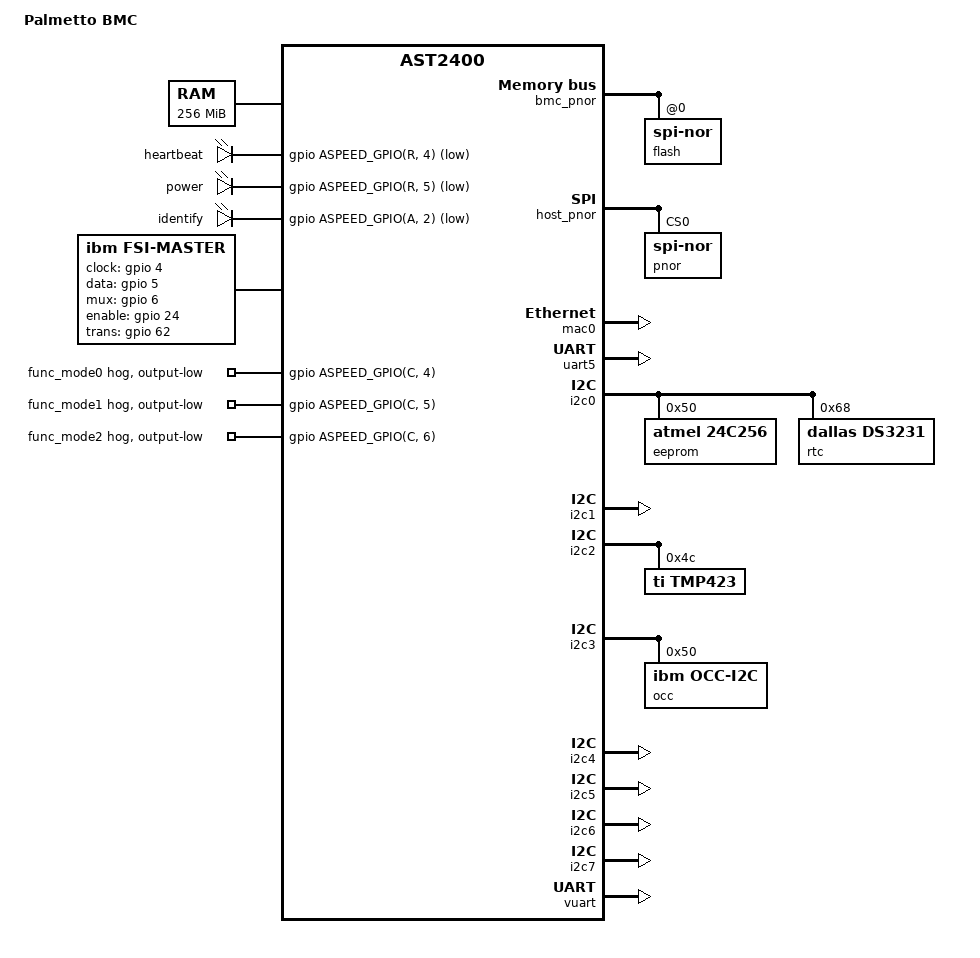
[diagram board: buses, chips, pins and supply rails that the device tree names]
/dts-v1/;

#include "aspeed-g4.dtsi"
#include <dt-bindings/gpio/aspeed-gpio.h>

/ {
	model = "Palmetto BMC";
	compatible = "tyan,palmetto-bmc", "aspeed,ast2400";

	aliases {
		serial4 = &uart5;
	};

	chosen {
		stdout-path = &uart5;
		bootargs = "console=ttyS4,115200 earlyprintk";
	};

	memory {
		reg = <0x40000000 0x10000000>;
	};

        leds {
                compatible = "gpio-leds";

                heartbeat {
                        gpios = <&gpio ASPEED_GPIO(R, 4) GPIO_ACTIVE_LOW>;
                };

                power {
                        gpios = <&gpio ASPEED_GPIO(R, 5) GPIO_ACTIVE_LOW>;
                };

                identify {
                        gpios = <&gpio ASPEED_GPIO(A, 2) GPIO_ACTIVE_LOW>;
                };
        };

	ahb {
		bmc_pnor: fmc@1e620000 {
			reg = < 0x1e620000 0x94
				0x20000000 0x02000000 >;
			#address-cells = <1>;
			#size-cells = <0>;
			compatible = "aspeed,ast2400-fmc";
			aspeed,fmc-has-dma;
			interrupts = <19>;
			flash@0 {
				reg = < 0 >;
				compatible = "jedec,spi-nor" ;
#include "aspeed-bmc-opp-flash-layout.dtsi"
			};
		};

		host_pnor: spi@1e630000 {
			reg = < 0x1e630000 0x18
				0x30000000 0x02000000 >;
			#address-cells = <1>;
			#size-cells = <0>;
			compatible = "aspeed,ast2400-smc";
			flash {
				reg = < 0 >;
				compatible = "jedec,spi-nor" ;
				label = "pnor";
			};
		};
	};

	fsi-master {
		compatible = "ibm,fsi-master", "ibm,fsi-master-gpio";

		clock-gpios = <&gpio 4 GPIO_ACTIVE_HIGH>;
		data-gpios = <&gpio 5 GPIO_ACTIVE_HIGH>;
		mux-gpios = <&gpio 6 GPIO_ACTIVE_HIGH>;
		enable-gpios = <&gpio 24 GPIO_ACTIVE_HIGH>;
		trans-gpios = <&gpio 62 GPIO_ACTIVE_HIGH>;
	};
};

&pinctrl {
	pinctrl-names = "default";
	pinctrl-0 = <&pinctrl_flbusy_default &pinctrl_flwp_default

			&pinctrl_vgahs_default &pinctrl_vgavs_default
			&pinctrl_ddcclk_default &pinctrl_ddcdat_default>;
};

&mac0 {
	status = "okay";

	use-ncsi;
	no-hw-checksum;
};


&uart5 {
	status = "okay";
};

&i2c0 {
	status = "okay";

	eeprom@50 {
		compatible = "atmel,24c256";
		reg = <0x50>;
		pagesize = <64>;
	};

	rtc@68 {
		compatible = "dallas,ds3231";
		reg = <0x68>;
		// interrupts = <GPIOF0>
	};
};

&i2c1 {
	status = "okay";
};

&i2c2 {
	status = "okay";

	tmp423@4c {
		compatible = "ti,tmp423";
		reg = <0x4c>;
	};
};

&i2c3 {
	status = "okay";

	occ@50 {
		compatible = "ibm,occ-i2c";
		reg = <0x50>;
	};
};

&i2c4 {
	status = "okay";
};

&i2c5 {
	status = "okay";
};

&i2c6 {
	status = "okay";
};

&i2c7 {
	status = "okay";
};

&gpio {
	pin_func_mode0 {
		gpio-hog;
		gpios = <ASPEED_GPIO(C, 4) GPIO_ACTIVE_HIGH>;
		output-low;
		line-name = "func_mode0";
	};

	pin_func_mode1 {
		gpio-hog;
		gpios = <ASPEED_GPIO(C, 5)  GPIO_ACTIVE_HIGH>;
		output-low;
		line-name = "func_mode1";
	};

	pin_func_mode2 {
		gpio-hog;
		gpios = <ASPEED_GPIO(C, 6) GPIO_ACTIVE_HIGH>;
		output-low;
		line-name = "func_mode2";
	};
};

&vuart {
	status = "okay";
};
